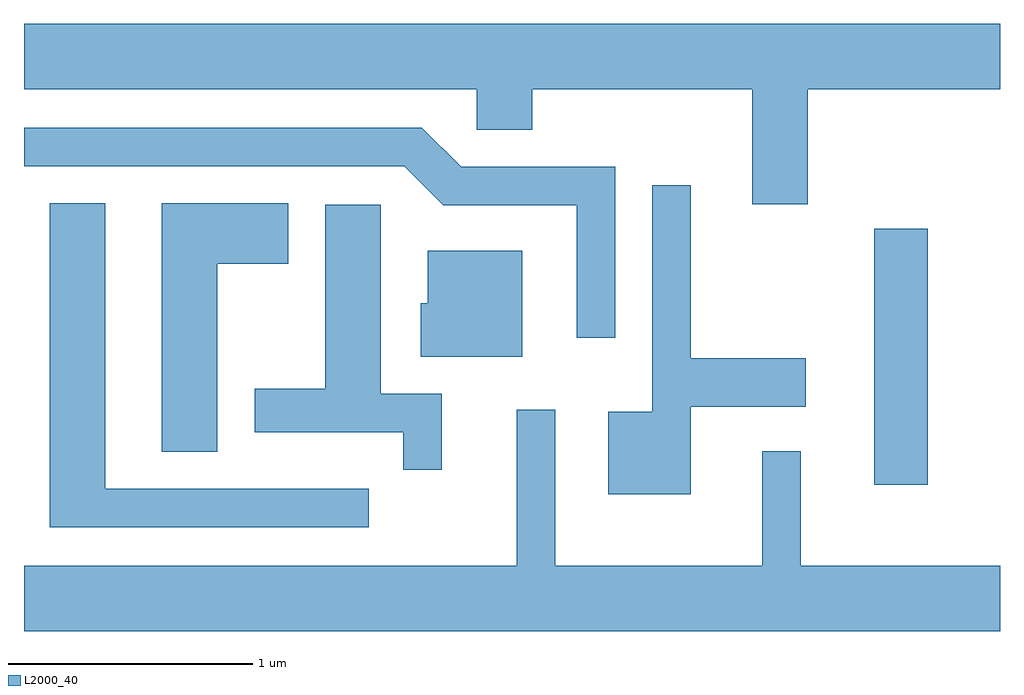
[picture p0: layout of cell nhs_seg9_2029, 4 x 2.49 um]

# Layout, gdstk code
import gdstk
lib = gdstk.Library(unit=1e-6, precision=1e-09)
def R(c, l, rs):  # rectangles x0, y0, x1, y1
    for r in rs: c.add(gdstk.rectangle(r[:2], r[2:], *l))
def P(c, l, *ps):  # polygons
    for p in ps: c.add(gdstk.Polygon(p, *l))
L2000_40 = (2000, 40)

nhs_seg9_2029 = lib.new_cell('nhs_seg9_2029')
R(nhs_seg9_2029, L2000_40, [(247.096,2067.896,247.314,2068.944)])
P(nhs_seg9_2029, L2000_40, [(246.824,2069.516),(247.611,2069.516),(247.611,2069.784),(243.611,2069.784),(243.611,2069.516),(245.466,2069.516),(245.466,2069.351),(245.694,2069.351),(245.694,2069.516),(246.596,2069.516),(246.596,2069.046),(246.824,2069.046)],
  [(246.034,2069.199),(245.402,2069.199),(245.242,2069.359),(243.611,2069.359),(243.611,2069.201),(245.169,2069.201),(245.329,2069.041),(245.876,2069.041),(245.876,2068.498),(246.034,2068.498)],
  [(246.344,2068.216),(246.814,2068.216),(246.814,2068.414),(246.344,2068.414),(246.344,2069.123),(246.186,2069.123),(246.186,2068.194),(246.006,2068.194),(246.006,2067.856),(246.344,2067.856)],
  [(244.404,2068.801),(244.694,2068.801),(244.694,2069.049),(244.176,2069.049),(244.176,2068.031),(244.404,2068.031)],
  [(245.023,2067.879),(243.944,2067.879),(243.944,2069.049),(243.716,2069.049),(243.716,2067.721),(245.023,2067.721)],
  [(245.324,2068.269),(245.074,2068.269),(245.074,2069.044),(244.846,2069.044),(244.846,2068.289),(244.556,2068.289),(244.556,2068.111),(245.166,2068.111),(245.166,2067.958),(245.324,2067.958)],
  [(245.654,2068.854),(245.266,2068.854),(245.266,2068.639),(245.236,2068.639),(245.236,2068.421),(245.654,2068.421)],
  [(247.611,2067.564),(246.794,2067.564),(246.794,2068.033),(246.636,2068.033),(246.636,2067.564),(245.789,2067.564),(245.789,2068.202),(245.631,2068.202),(245.631,2067.564),(243.611,2067.564),(243.611,2067.296),(247.611,2067.296)])

lib.write_gds('nhs_seg9_2029.gds')
